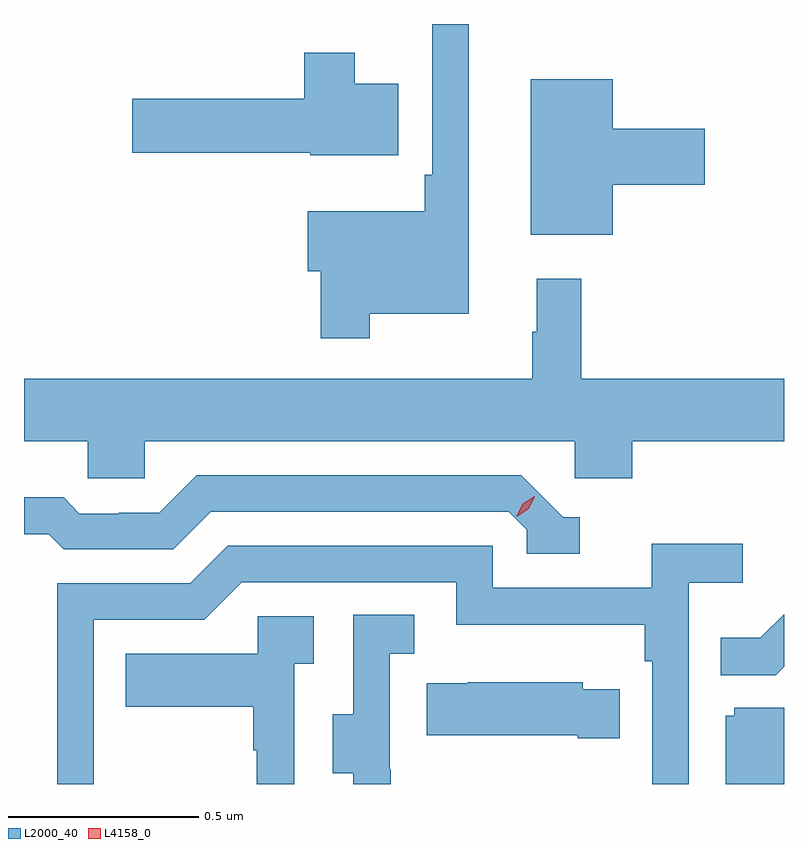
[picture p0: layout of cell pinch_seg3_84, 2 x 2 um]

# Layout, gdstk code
import gdstk
lib = gdstk.Library(unit=1e-6, precision=1e-09)
def P(c, l, *ps):  # polygons
    for p in ps: c.add(gdstk.Polygon(p, *l))
L2000_40 = (2000, 40)
L4158_0 = (4158, 0)

pinch_seg3_84 = lib.new_cell('pinch_seg3_84')
P(pinch_seg3_84, L2000_40, [(1036.423,727.892),(1036.684,727.892),(1036.684,728.654),(1036.587,728.654),(1036.587,728.257),(1036.567,728.257),(1036.567,728.161),(1036.26,728.161),(1036.26,728.003),(1036.294,728.003),(1036.294,727.827),(1036.423,727.827)],
  [(1036.498,728.497),(1036.384,728.497),(1036.384,728.578),(1036.25,728.578),(1036.25,728.457),(1035.798,728.457),(1035.798,728.315),(1036.266,728.315),(1036.266,728.309),(1036.498,728.309)],
  [(1037.062,728.231),(1037.305,728.231),(1037.305,728.378),(1037.062,728.378),(1037.062,728.509),(1036.847,728.509),(1036.847,728.099),(1037.062,728.099)],
  [(1035.831,727.556),(1036.962,727.556),(1036.962,727.458),(1037.114,727.458),(1037.114,727.556),(1037.513,727.556),(1037.513,727.72),(1036.979,727.72),(1036.979,727.984),(1036.862,727.984),(1036.862,727.844),(1036.851,727.844),(1036.851,727.72),(1035.513,727.72),(1035.513,727.556),(1035.681,727.556),(1035.681,727.458),(1035.831,727.458)],
  [(1036.975,727.356),(1036.932,727.356),(1036.821,727.467),(1035.968,727.467),(1035.869,727.368),(1035.762,727.368),(1035.762,727.365),(1035.659,727.365),(1035.617,727.408),(1035.513,727.408),(1035.513,727.311),(1035.578,727.311),(1035.617,727.272),(1035.906,727.272),(1036.005,727.371),(1036.788,727.371),(1036.836,727.323),(1036.836,727.26),(1036.975,727.26)],
  [(1035.696,727.086),(1035.987,727.086),(1036.086,727.185),(1036.65,727.185),(1036.65,727.073),(1037.146,727.073),(1037.146,726.977),(1037.166,726.977),(1037.166,726.654),(1037.262,726.654),(1037.262,727.184),(1037.404,727.184),(1037.404,727.286),(1037.165,727.286),(1037.165,727.17),(1036.746,727.17),(1036.746,727.281),(1036.049,727.281),(1035.95,727.182),(1035.6,727.182),(1035.6,726.654),(1035.696,726.654)],
  [(1037.513,726.962),(1037.513,727.101),(1037.451,727.039),(1037.347,727.039),(1037.347,726.94),(1037.491,726.94)],
  [(1036.478,726.693),(1036.476,726.693),(1036.476,726.997),(1036.54,726.997),(1036.54,727.1),(1036.38,727.1),(1036.38,726.837),(1036.325,726.837),(1036.325,726.682),(1036.379,726.682),(1036.379,726.654),(1036.478,726.654)],
  [(1036.224,726.971),(1036.276,726.971),(1036.276,727.095),(1036.128,727.095),(1036.128,726.997),(1035.781,726.997),(1035.781,726.857),(1036.116,726.857),(1036.116,726.743),(1036.126,726.743),(1036.126,726.654),(1036.224,726.654)],
  [(1037.081,726.904),(1036.983,726.904),(1036.983,726.922),(1036.681,726.922),(1036.681,726.919),(1036.573,726.919),(1036.573,726.782),(1036.97,726.782),(1036.97,726.775),(1037.081,726.775)],
  [(1037.513,726.855),(1037.382,726.855),(1037.382,726.834),(1037.36,726.834),(1037.36,726.654),(1037.513,726.654)])
P(pinch_seg3_84, L4158_0, [(1036.81,727.359),(1036.81,727.359),(1036.826,727.391),(1036.857,727.411),(1036.857,727.411),(1036.857,727.41),(1036.841,727.378),(1036.811,727.359)])

lib.write_gds('pinch_seg3_84.gds')
